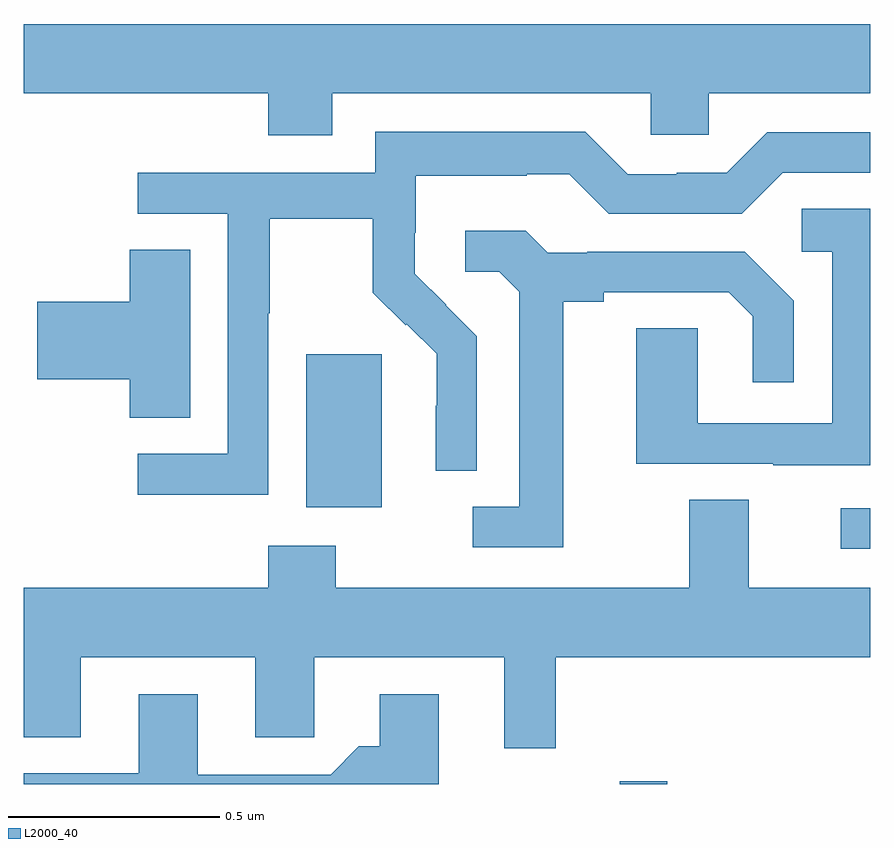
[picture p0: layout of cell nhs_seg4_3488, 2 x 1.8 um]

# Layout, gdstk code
import gdstk
lib = gdstk.Library(unit=1e-6, precision=1e-09)
def R(c, l, rs):  # rectangles x0, y0, x1, y1
    for r in rs: c.add(gdstk.rectangle(r[:2], r[2:], *l))
def P(c, l, *ps):  # polygons
    for p in ps: c.add(gdstk.Polygon(p, *l))
L2000_40 = (2000, 40)

nhs_seg4_3488 = lib.new_cell('nhs_seg4_3488')
R(nhs_seg4_3488, L2000_40, [(155.408,749.9,155.521,749.907), (155.931,750.456,156,750.552), (154.667,750.554,154.846,750.915)])
P(nhs_seg4_3488, L2000_40, [(154.729,751.532),(155.481,751.532),(155.481,751.434),(155.619,751.434),(155.619,751.532),(156,751.532),(156,751.696),(154,751.696),(154,751.532),(154.577,751.532),(154.577,751.433),(154.729,751.433)],
  [(154.578,751.012),(154.581,751.012),(154.581,751.236),(154.825,751.236),(154.825,751.061),(154.902,750.984),(154.905,750.987),(154.976,750.917),(154.976,750.794),(154.974,750.794),(154.974,750.64),(155.07,750.64),(155.07,750.958),(154.997,751.031),(154.998,751.032),(154.924,751.106),(154.924,751.203),(154.926,751.203),(154.926,751.337),(155.189,751.337),(155.189,751.341),(155.289,751.341),(155.382,751.248),(155.697,751.248),(155.793,751.344),(156,751.344),(156,751.44),(155.757,751.44),(155.661,751.344),(155.543,751.344),(155.543,751.341),(155.427,751.341),(155.327,751.441),(154.83,751.441),(154.83,751.344),(154.269,751.344),(154.269,751.248),(154.482,751.248),(154.482,750.681),(154.269,750.681),(154.269,750.583),(154.578,750.583)],
  [(156,751.259),(155.838,751.259),(155.838,751.158),(155.91,751.158),(155.91,750.753),(155.592,750.753),(155.592,750.977),(155.447,750.977),(155.447,750.657),(155.771,750.657),(155.771,750.653),(156,750.653)],
  [(155.275,751.04),(155.371,751.04),(155.371,751.062),(155.666,751.062),(155.723,751.005),(155.723,750.849),(155.82,750.849),(155.82,751.042),(155.704,751.158),(155.332,751.158),(155.332,751.155),(155.238,751.155),(155.186,751.207),(155.043,751.207),(155.043,751.11),(155.124,751.11),(155.171,751.063),(155.171,750.555),(155.061,750.555),(155.061,750.459),(155.275,750.459)],
  [(154.393,751.163),(154.25,751.163),(154.25,751.04),(154.032,751.04),(154.032,750.857),(154.25,750.857),(154.25,750.766),(154.393,750.766)],
  [(155.257,750.2),(156,750.2),(156,750.364),(155.713,750.364),(155.713,750.572),(155.573,750.572),(155.573,750.364),(154.737,750.364),(154.737,750.463),(154.577,750.463),(154.577,750.364),(154,750.364),(154,750.01),(154.135,750.01),(154.135,750.2),(154.547,750.2),(154.547,750.01),(154.686,750.01),(154.686,750.2),(155.135,750.2),(155.135,749.984),(155.257,749.984)],
  [(154.981,750.112),(154.841,750.112),(154.841,749.989),(154.792,749.989),(154.725,749.922),(154.411,749.922),(154.411,750.112),(154.271,750.112),(154.271,749.925),(154,749.925),(154,749.9),(154.981,749.9)])

lib.write_gds('nhs_seg4_3488.gds')
